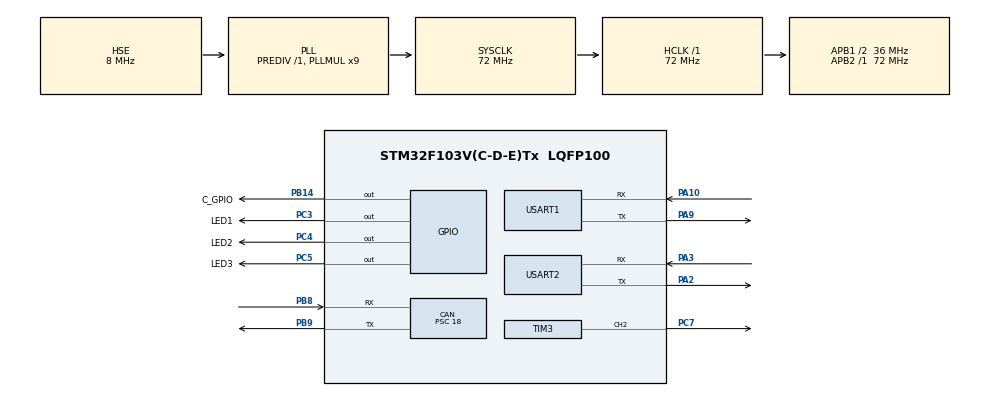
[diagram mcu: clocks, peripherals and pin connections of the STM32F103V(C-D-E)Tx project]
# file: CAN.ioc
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CAN.BS1=CAN_BS1_7TQ
CAN.BS2=CAN_BS2_8TQ
CAN.CalculateTimeBit=8000
CAN.CalculateTimeQuantum=500.0
CAN.Prescaler=18
FREERTOS.Tasks01=Task0,0,256,Func_Task0,Default,NULL,Dynamic,NULL,NULL;Task1,0,256,Func_Task1,Default,NULL,Dynamic,NULL,NULL
Mcu.Family=STM32F1
Mcu.Name=STM32F103V(C-D-E)Tx
Mcu.Package=LQFP100
NVIC.PriorityGroup=NVIC_PRIORITYGROUP_4
NVIC.TIM4_IRQn=true\:0\:0\:false\:false\:true\:false\:false
NVIC.TimeBase=TIM4_IRQn
NVIC.TimeBaseIP=TIM4
NVIC.USART2_IRQn=true\:6\:0\:true\:false\:true\:true\:true
NVIC.USB_LP_CAN1_RX0_IRQn=true\:5\:0\:true\:false\:true\:true\:true
OSC_IN.Mode=HSE-External-Oscillator
OSC_IN.Signal=RCC_OSC_IN
OSC_OUT.Mode=HSE-External-Oscillator
OSC_OUT.Signal=RCC_OSC_OUT
PA10.Mode=Asynchronous
PA10.Signal=USART1_RX
PA13.Mode=Serial_Wire
PA13.Signal=SYS_JTMS-SWDIO
PA14.Mode=Serial_Wire
PA14.Signal=SYS_JTCK-SWCLK
PA2.Mode=Asynchronous
PA2.Signal=USART2_TX
PA3.Mode=Asynchronous
PA3.Signal=USART2_RX
PA9.Mode=Asynchronous
PA9.Signal=USART1_TX
PB14.GPIO_Label=C_GPIO
PB14.Signal=GPIO_Output
PB8.Mode=Master
PB8.Signal=CAN_RX
PB9.Mode=Master
PB9.Signal=CAN_TX
PC3.GPIO_Label=LED1
PC3.Signal=GPIO_Output
PC4.GPIO_Label=LED2
PC4.Signal=GPIO_Output
PC5.GPIO_Label=LED3
PC5.Signal=GPIO_Output
PC7.Signal=S_TIM3_CH2
ProjectManager.HeapSize=0x200
ProjectManager.StackSize=0x400
ProjectManager.TargetToolchain=Makefile
RCC.AHBFreq_Value=72000000
RCC.APB1CLKDivider=RCC_HCLK_DIV2
RCC.APB1Freq_Value=36000000
RCC.APB1TimFreq_Value=72000000
RCC.APB2Freq_Value=72000000
RCC.APB2TimFreq_Value=72000000
RCC.HCLKFreq_Value=72000000
RCC.PLLMUL=RCC_PLL_MUL9
RCC.PLLSourceVirtual=RCC_PLLSOURCE_HSE
RCC.SYSCLKFreq_VALUE=72000000
RCC.SYSCLKSource=RCC_SYSCLKSOURCE_PLLCLK
RCC.USBFreq_Value=72000000
SH.S_TIM3_CH2.0=TIM3_CH2,PWM Generation2 CH2
TIM3.Channel-PWM\ Generation2\ CH2=TIM_CHANNEL_2
TIM3.OCPolarity_2=TIM_OCPOLARITY_LOW
TIM3.Period=1000-1
TIM3.Prescaler=72-1
USART1.VirtualMode=VM_ASYNC
USART2.VirtualMode=VM_ASYNC
VP_FREERTOS_VS_ENABLE.Mode=Enabled
VP_SYS_VS_tim4.Mode=TIM4
board=custom

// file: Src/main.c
/**
  ******************************************************************************
  * @file           : main.c
  * @brief          : Main program body
  ******************************************************************************
  * This notice applies to any and all portions of this file
  * that are not between comment pairs USER CODE BEGIN and
  * USER CODE END. Other portions of this file, whether
  * inserted by the user or by software development tools
  * are owned by their respective copyright owners.
  *
  * Copyright (c) 2020 STMicroelectronics International N.V.
  * All rights reserved.
  *
  * Redistribution and use in source and binary forms, with or without
  * modification, are permitted, provided that the following conditions are met:
  *
  * 1. Redistribution of source code must retain the above copyright notice,
  *    this list of conditions and the following disclaimer.
  * 2. Redistributions in binary form must reproduce the above copyright notice,
  *    this list of conditions and the following disclaimer in the documentation
  *    and/or other materials provided with the distribution.
  * 3. Neither the name of STMicroelectronics nor the names of other
  *    contributors to this software may be used to endorse or promote products
  *    derived from this software without specific written permission.
  * 4. This software, including modifications and/or derivative works of this
  *    software, must execute solely and exclusively on microcontroller or
  *    microprocessor devices manufactured by or for STMicroelectronics.
  * 5. Redistribution and use of this software other than as permitted under
  *    this license is void and will automatically terminate your rights under
  *    this license.
  *
  * THIS SOFTWARE IS PROVIDED BY STMICROELECTRONICS AND CONTRIBUTORS "AS IS"
  * AND ANY EXPRESS, IMPLIED OR STATUTORY WARRANTIES, INCLUDING, BUT NOT
  * LIMITED TO, THE IMPLIED WARRANTIES OF MERCHANTABILITY, FITNESS FOR A
  * PARTICULAR PURPOSE AND NON-INFRINGEMENT OF THIRD PARTY INTELLECTUAL PROPERTY
  * RIGHTS ARE DISCLAIMED TO THE FULLEST EXTENT PERMITTED BY LAW. IN NO EVENT
  * SHALL STMICROELECTRONICS OR CONTRIBUTORS BE LIABLE FOR ANY DIRECT, INDIRECT,
  * INCIDENTAL, SPECIAL, EXEMPLARY, OR CONSEQUENTIAL DAMAGES (INCLUDING, BUT NOT
  * LIMITED TO, PROCUREMENT OF SUBSTITUTE GOODS OR SERVICES; LOSS OF USE, DATA,
  * OR PROFITS; OR BUSINESS INTERRUPTION) HOWEVER CAUSED AND ON ANY THEORY OF
  * LIABILITY, WHETHER IN CONTRACT, STRICT LIABILITY, OR TORT (INCLUDING
  * NEGLIGENCE OR OTHERWISE) ARISING IN ANY WAY OUT OF THE USE OF THIS SOFTWARE,
  * EVEN IF ADVISED OF THE POSSIBILITY OF SUCH DAMAGE.
  *
  ******************************************************************************
  */
#include "main.h"
#include "stm32f1xx_hal.h"
#include "cmsis_os.h"
#include <stdio.h>
#include "arm_etm.h"

CAN_HandleTypeDef hcan;

TIM_HandleTypeDef htim3;

UART_HandleTypeDef huart1;
UART_HandleTypeDef huart2;

osThreadId Task0Handle;
osThreadId Task1Handle;

/* USER CODE BEGIN PV */
/* Private variables ---------------------------------------------------------*/
CAN_FilterConfTypeDef  sFliterConfig;
CanTxMsgTypeDef TxMessage;
CanRxMsgTypeDef RxMessage;
int TickCounter = 0;

int sensor_flag1 = 0;
int sensor_flag2 = 0;
int sensor_flag3 = 0;

int flag;

int globalCounter = 0;

int setupCounter = 0;
/* USER CODE END PV */

void SystemClock_Config(void);
static void MX_GPIO_Init(void);
static void MX_CAN_Init(void);
static void MX_USART1_UART_Init(void);
static void MX_USART2_UART_Init(void);
static void MX_TIM3_Init(void);
void Func_Task0(void const * argument);
void Func_Task1(void const * argument);

void HAL_TIM_MspPostInit(TIM_HandleTypeDef *htim);

void Setup_Icing(int Icing_value);    // 结冰只调PWM
void Setup_Visibility(int visibility_value);    // 能见度调PWM和LED
void Setup_Rainfall(int Rainfall_value);    // 降雨量只调PWM
void Setup_Light(int Light_value);    // 光照强度只调LED
void Setup_Flow_Speed(int Flow_value, int speed_value);    // 车流和车流速度只调PWM

/* USER CODE BEGIN PFP */
/* Private function prototypes -----------------------------------------------*/

/* USER CODE END PFP */

/* USER CODE BEGIN 0 */
void configure_tracing()
{
    /* STM32 specific configuration to enable the TRACESWO IO pin */
    RCC->APB2ENR |= RCC_APB2ENR_AFIOEN;
    AFIO->MAPR |= (2 << 24); // Disable JTAG to release TRACESWO
    DBGMCU->CR |= DBGMCU_CR_TRACE_IOEN; // Enable IO trace pins

    uint32_t DBGMCU_val = DBGMCU->CR;
    // DBGMCU->CR |= 0x00000020;

    if (!(DBGMCU->CR & DBGMCU_CR_TRACE_IOEN))
    {
        // Some (all?) STM32s don't allow writes to DBGMCU register until
        // C_DEBUGEN in CoreDebug->DHCSR is set. This cannot be set by the
        // CPU itself, so in practice you need to connect to the CPU with
        // a debugger once before resetting it.
        return;
    }

    /* Configure Trace Port Interface Unit */
    CoreDebug->DEMCR |= CoreDebug_DEMCR_TRCENA_Msk; // Enable access to registers
    TPI->ACPR = 8; // Trace clock = HCLK/(x+1) = 8MHz    这里HCLK是处理器时钟,这个值的初始值是0，0+1=1就是没有分频,还注释说是8MHz那是因为F105是8MHz
    TPI->SPPR = 2; // Pin protocol = NRZ/USART

    // TPI->FFCR = 0x102;
    TPI->FFCR = 0x100; //为什么设置102开启ETM后，ITM输出就不对了？？,在博客http://essentialscrap.com/tips/arm_trace/theory.html 中说到启用ETM会生成大量数据将使ITM追踪事件的数据丢失
    		       // TPIU packet framing enabled when bit 2 is set.
    		       // You can use 0x102 if you need both DWT/ITM and ETM.
                       // You can use 0x100 if you only need DWT/ITM and not ETM.

    /* Configure PC sampling and exception trace  */
    DWT->CTRL = (1 << DWT_CTRL_CYCTAP_Pos) // Prescaler for PC sampling
                                           // 0 = x32, 1 = x512  //
                    //bits[6]就是DWT_CYCCNT寄存器的0到5bit，那么节拍就是32记录一次PC,bits[10]就是0到9bit，那么节拍记录就是512记录一次PC
              | (0 << DWT_CTRL_POSTPRESET_Pos) // Postscaler for PC sampling
                                                // Divider = value + 1
              | (1 << DWT_CTRL_PCSAMPLENA_Pos) // Enable PC sampling
              | (2 << DWT_CTRL_SYNCTAP_Pos)    // Sync packet interval
                                               // 0 = Off, 1 = Every 2^23 cycles,
                                               // 2 = Every 2^25, 3 = Every 2^27
              | (1 << DWT_CTRL_EXCTRCENA_Pos)  // Enable exception trace
              | (1 << DWT_CTRL_CYCCNTENA_Pos); // Enable cycle counter

    /* Configure instrumentation trace macroblock */
    ITM->LAR = 0xC5ACCE55;
    ITM->TCR = (1 << ITM_TCR_TraceBusID_Pos)  // Trace bus ID for TPIU
             | (1 << ITM_TCR_DWTENA_Pos)      // Enable events from DWT
             | (1 << ITM_TCR_SYNCENA_Pos)     // Enable sync packets
             | (1 << ITM_TCR_ITMENA_Pos)      // Main enable for ITM
             | (1 << ITM_TCR_TSENA_Pos)       // 使能ITM时间戳
             | (0 << ITM_TCR_TSPrescale_Pos); // 先不设置时间戳分频系数,00:不分频，01:4分频，10:16分频，11:64分频
    ITM->TER = 0xFFFFFFFF; // Enable all stimulus ports

    //ETM_Lock_Access = 0xC5ACCE55;
    //ETM_Control = 0x00001D1E;
    //ETM_Trigger_Event = 0x0000406F;
    //ETM_Trace_Enable_Event = 0x0000006F;
    //ETM_Trace_Start_Stop = 0x00000001;

   /* Configure embedded trace macroblock */
    ETM->LAR = 0xC5ACCE55;
    ETM_SetupMode();
    ETM->CR = ETM_CR_ETMEN // Enable ETM output port
            | ETM_CR_STALL_PROCESSOR // Stall processor when fifo is full
            | ETM_CR_BRANCH_OUTPUT // Report all branches
            | (1 << 4);//port_size位21,6,5,4是0001表示8bit，这里目前认为复位值都是0,那么把第4位改为1就行
    ETM->TRACEIDR = 2; // Trace bus ID for TPIU
    ETM->TECR1 = ETM_TECR1_EXCLUDE; // Trace always enabled
    ETM->FFRR = ETM_FFRR_EXCLUDE; // Stalling always enabled
    ETM->FFLR = 24; // Stall when less than N bytes free in FIFO (range 1..24)
                    // Larger values mean less latency in trace, but more stalls.
    // Note: we do not enable ETM trace yet, only for specific parts of code.

    ETM->TRIGGER = 0x0000406F;
    ETM->TEEVR = 0x0000006F;
    //ETM->TSSCR = 0x00000001;

}

void configure_watchpoint()
{
    /* This is an example of how to configure DWT to monitor a watchpoint.
       The data value is reported when the watchpoint is hit. */

    /* Monitor all accesses to GPIOC (range length 32 bytes) */
    //DWT->COMP0 = (uint32_t)bubble_sort;                      //改为了比GPIOC
    DWT->COMP0 = (uint32_t)C_GPIO_GPIO_Port;                      //改为了比较GPIOC
    DWT->MASK0 = 8;							 //屏蔽掉数据地址的后5位，目前DWT->COMP0的值是GPIOA的地址:0x40010800
											//可能是出于加快比较速度的原因吧，那为什么不把MASK[3:0]
										        //设置为8,反正0x40010800最后八位都是0

    DWT->FUNCTION0 = (2 << DWT_FUNCTION_FUNCTION_Pos)   // Report data and addr on watchpoint hit
                   | (1 << DWT_FUNCTION_EMITRANGE_Pos); // 这一位为1，前面那四位是0010表示在读和写操作时通过ITM发出数据和地址偏移量

                 //    (4 << DWT_FUNCTION_FUNCTION_Pos)
                 //  | (1 << DWT_FUNCTION_CYCMATCH_Pos); // 这一位为1,前面那四位是0100,表示比较器0与PC采样计数器比较，匹配时打watchpoint

    /* Monitor all accesses to globalCounter (range length 4 bytes) */
    DWT->COMP1 = (uint32_t)&globalCounter;
    DWT->MASK1 = 2;
    DWT->FUNCTION1 = (3 << DWT_FUNCTION_FUNCTION_Pos); // Report data and PC on watchpoint hit

    DWT->COMP2 = (uint32_t)&setupCounter;
    DWT->MASK2 = 2;
    DWT->FUNCTION2 = (3 << DWT_FUNCTION_FUNCTION_Pos); // Report data and PC on watchpoint hit
}

void ITM_Print(int port, const char *p)
{
    globalCounter = 0xFC;
    if ((ITM->TCR & ITM_TCR_ITMENA_Msk) && (ITM->TER & (1UL << port)))
    {
        while (*p)
        {
            while (ITM->PORT[port].u32 == 0);//时间片下多进程使用一个查询函数在这里始终过不去了，这个问题需要引起注意,原因是两个进程在抢这个发送u端口
            ITM->PORT[port].u8 = *p++;
        }
    }
}

void ITM_SendValue (int port, uint32_t value)
{
    if ((ITM->TCR & ITM_TCR_ITMENA_Msk) && (ITM->TER & (1UL << port)))
    {
        while (ITM->PORT[port].u32 == 0);
        ITM->PORT[port].u32 = value;
    }
}

int _write(int fd, char *ptr, int len)
{
  HAL_UART_Transmit(&huart2, (uint8_t*)ptr, len, 0xFFFF);
  return len;
}
/* USER CODE END 0 */

int main(void)
{

  /* MCU Configuration----------------------------------------------------------*/

  /* Reset of all peripherals, Initializes the Flash interface and the Systick. */
  HAL_Init();

  /* Configure the system clock */
  SystemClock_Config();

  /* Initialize all configured peripherals */
  MX_GPIO_Init();
  MX_CAN_Init();
  MX_USART1_UART_Init();
  MX_USART2_UART_Init();
  MX_TIM3_Init();

  // 追踪初始化
  configure_tracing();
  configure_watchpoint();

  /* Create the thread(s) */
  /* definition and creation of Task0 */
  osThreadDef(Task0, Func_Task0, osPriorityNormal, 0, 256);
  Task0Handle = osThreadCreate(osThread(Task0), NULL);

  /* definition and creation of Task1 */
  osThreadDef(Task1, Func_Task1, osPriorityNormal, 0, 256);
  Task1Handle = osThreadCreate(osThread(Task1), NULL);

  /* Start scheduler */
  osKernelStart();

  /* We should never get here as control is now taken by the scheduler */

  /* Infinite loop */
    while (1)
    {

    }

}

void SystemClock_Config(void)
{

  RCC_OscInitTypeDef RCC_OscInitStruct;
  RCC_ClkInitTypeDef RCC_ClkInitStruct;

    /**Initializes the CPU, AHB and APB busses clocks
    */
  RCC_OscInitStruct.OscillatorType = RCC_OSCILLATORTYPE_HSE;
  RCC_OscInitStruct.HSEState = RCC_HSE_ON;
  RCC_OscInitStruct.HSEPredivValue = RCC_HSE_PREDIV_DIV1;
  RCC_OscInitStruct.HSIState = RCC_HSI_ON;
  RCC_OscInitStruct.PLL.PLLState = RCC_PLL_ON;
  RCC_OscInitStruct.PLL.PLLSource = RCC_PLLSOURCE_HSE;
  RCC_OscInitStruct.PLL.PLLMUL = RCC_PLL_MUL9;
  if (HAL_RCC_OscConfig(&RCC_OscInitStruct) != HAL_OK)
  {
    _Error_Handler(__FILE__, __LINE__);
  }

    /**Initializes the CPU, AHB and APB busses clocks
    */
  RCC_ClkInitStruct.ClockType = RCC_CLOCKTYPE_HCLK|RCC_CLOCKTYPE_SYSCLK
                              |RCC_CLOCKTYPE_PCLK1|RCC_CLOCKTYPE_PCLK2;
  RCC_ClkInitStruct.SYSCLKSource = RCC_SYSCLKSOURCE_PLLCLK;
  RCC_ClkInitStruct.AHBCLKDivider = RCC_SYSCLK_DIV1;
  RCC_ClkInitStruct.APB1CLKDivider = RCC_HCLK_DIV2;
  RCC_ClkInitStruct.APB2CLKDivider = RCC_HCLK_DIV1;

  if (HAL_RCC_ClockConfig(&RCC_ClkInitStruct, FLASH_LATENCY_2) != HAL_OK)
  {
    _Error_Handler(__FILE__, __LINE__);
  }

    /**Configure the Systick interrupt time
    */
  HAL_SYSTICK_Config(HAL_RCC_GetHCLKFreq()/1000);

    /**Configure the Systick
    */
  HAL_SYSTICK_CLKSourceConfig(SYSTICK_CLKSOURCE_HCLK);

  /* SysTick_IRQn interrupt configuration */
  HAL_NVIC_SetPriority(SysTick_IRQn, 15, 0);
}

/* CAN init function */
static void MX_CAN_Init(void)
{

  hcan.Instance = CAN1;
  hcan.Init.Prescaler = 18;
  hcan.Init.Mode = CAN_MODE_NORMAL;
  hcan.Init.SJW = CAN_SJW_1TQ;
  hcan.Init.BS1 = CAN_BS1_7TQ;
  hcan.Init.BS2 = CAN_BS2_8TQ;
  hcan.Init.TTCM = DISABLE;
  hcan.Init.ABOM = DISABLE;
  hcan.Init.AWUM = DISABLE;
  hcan.Init.NART = DISABLE;
  hcan.Init.RFLM = DISABLE;
  hcan.Init.TXFP = DISABLE;
  if (HAL_CAN_Init(&hcan) != HAL_OK)
  {
    _Error_Handler(__FILE__, __LINE__);
  }

}

/* TIM3 init function */
static void MX_TIM3_Init(void)
{

  TIM_MasterConfigTypeDef sMasterConfig;
  TIM_OC_InitTypeDef sConfigOC;

  htim3.Instance = TIM3;
  htim3.Init.Prescaler = 72-1;
  htim3.Init.CounterMode = TIM_COUNTERMODE_UP;
  htim3.Init.Period = 1000-1;
  htim3.Init.ClockDivision = TIM_CLOCKDIVISION_DIV1;
  htim3.Init.AutoReloadPreload = TIM_AUTORELOAD_PRELOAD_DISABLE;
  if (HAL_TIM_PWM_Init(&htim3) != HAL_OK)
  {
    _Error_Handler(__FILE__, __LINE__);
  }

  sMasterConfig.MasterOutputTrigger = TIM_TRGO_RESET;
  sMasterConfig.MasterSlaveMode = TIM_MASTERSLAVEMODE_DISABLE;
  if (HAL_TIMEx_MasterConfigSynchronization(&htim3, &sMasterConfig) != HAL_OK)
  {
    _Error_Handler(__FILE__, __LINE__);
  }

  sConfigOC.OCMode = TIM_OCMODE_PWM1;
  sConfigOC.Pulse = 0;
  sConfigOC.OCPolarity = TIM_OCPOLARITY_LOW;
  sConfigOC.OCFastMode = TIM_OCFAST_DISABLE;
  if (HAL_TIM_PWM_ConfigChannel(&htim3, &sConfigOC, TIM_CHANNEL_2) != HAL_OK)
  {
    _Error_Handler(__FILE__, __LINE__);
  }

  HAL_TIM_MspPostInit(&htim3);

}

/* USART1 init function */
static void MX_USART1_UART_Init(void)
{

  huart1.Instance = USART1;
  huart1.Init.BaudRate = 115200;
  huart1.Init.WordLength = UART_WORDLENGTH_8B;
  huart1.Init.StopBits = UART_STOPBITS_1;
  huart1.Init.Parity = UART_PARITY_NONE;
  huart1.Init.Mode = UART_MODE_TX_RX;
  huart1.Init.HwFlowCtl = UART_HWCONTROL_NONE;
  huart1.Init.OverSampling = UART_OVERSAMPLING_16;
  if (HAL_UART_Init(&huart1) != HAL_OK)
  {
    _Error_Handler(__FILE__, __LINE__);
  }

}

/* USART2 init function */
static void MX_USART2_UART_Init(void)
{

  huart2.Instance = USART2;
  huart2.Init.BaudRate = 115200;
  huart2.Init.WordLength = UART_WORDLENGTH_8B;
  huart2.Init.StopBits = UART_STOPBITS_1;
  huart2.Init.Parity = UART_PARITY_NONE;
  huart2.Init.Mode = UART_MODE_TX_RX;
  huart2.Init.HwFlowCtl = UART_HWCONTROL_NONE;
  huart2.Init.OverSampling = UART_OVERSAMPLING_16;
  if (HAL_UART_Init(&huart2) != HAL_OK)
  {
    _Error_Handler(__FILE__, __LINE__);
  }

}

/** Configure pins as
        * Analog
        * Input
        * Output
        * EVENT_OUT
        * EXTI
*/
static void MX_GPIO_Init(void)
{

  GPIO_InitTypeDef GPIO_InitStruct;

  /* GPIO Ports Clock Enable */
  __HAL_RCC_GPIOC_CLK_ENABLE();
  __HAL_RCC_GPIOA_CLK_ENABLE();
  __HAL_RCC_GPIOB_CLK_ENABLE();

  /*Configure GPIO pin Output Level */
  HAL_GPIO_WritePin(GPIOC, LED1_Pin|LED2_Pin|LED3_Pin, GPIO_PIN_RESET);

  /*Configure GPIO pin Output Level */
  HAL_GPIO_WritePin(C_GPIO_GPIO_Port, C_GPIO_Pin, GPIO_PIN_RESET);

  /*Configure GPIO pins : LED1_Pin LED2_Pin LED3_Pin */
  GPIO_InitStruct.Pin = LED1_Pin|LED2_Pin|LED3_Pin;
  GPIO_InitStruct.Mode = GPIO_MODE_OUTPUT_PP;
  GPIO_InitStruct.Pull = GPIO_NOPULL;
  GPIO_InitStruct.Speed = GPIO_SPEED_FREQ_LOW;
  HAL_GPIO_Init(GPIOC, &GPIO_InitStruct);

  /*Configure GPIO pin : C_GPIO_Pin */
  GPIO_InitStruct.Pin = C_GPIO_Pin;
  GPIO_InitStruct.Mode = GPIO_MODE_OUTPUT_PP;
  GPIO_InitStruct.Pull = GPIO_NOPULL;
  GPIO_InitStruct.Speed = GPIO_SPEED_FREQ_LOW;
  HAL_GPIO_Init(C_GPIO_GPIO_Port, &GPIO_InitStruct);

}

/* USER CODE BEGIN 4 */

void Setup_Icing(int Icing_value)
{
  setupCounter = 0xAA;
  uint16_t dutyCycle = 0;
  // HAL_TIM_PWM_Start(&htim3, TIM_CHANNEL_2);
  if (Icing_value > 5)
  {
    dutyCycle = 0;
    while (dutyCycle < 1000)    // 逐渐降低动力输出，使低电平比例到950/1000
    {
      dutyCycle += 50;
      __HAL_TIM_SET_COMPARE(&htim3, TIM_CHANNEL_2, dutyCycle);
      osDelay(5);
    }

    while (dutyCycle > 200)    // 逐渐升高动力输出，使低电平比例到150/1000
    {
      dutyCycle -= 50;
      __HAL_TIM_SET_COMPARE(&htim3, TIM_CHANNEL_2, dutyCycle);
      osDelay(5);
    }
  }

  if (Icing_value <= 5 && Icing_value > 2)
  {
    dutyCycle = 0;
    while (dutyCycle < 700)    // 逐渐降低动力输出，使低电平比例到650/1000
    {
      dutyCycle += 50;
      __HAL_TIM_SET_COMPARE(&htim3, TIM_CHANNEL_2, dutyCycle);
      osDelay(5);
    }

    while (dutyCycle > 200)    // 逐渐升高动力输出，使低电平比例到150/1000
    {
      dutyCycle -= 50;
      __HAL_TIM_SET_COMPARE(&htim3, TIM_CHANNEL_2, dutyCycle);
      osDelay(5);
    }
  }
}

void Setup_Visibility(int visibility_value)
{
  setupCounter = 0xAB;
  HAL_GPIO_WritePin(LED1_GPIO_Port, LED1_Pin, GPIO_PIN_RESET);
  HAL_GPIO_WritePin(LED2_GPIO_Port, LED2_Pin, GPIO_PIN_SET);

  uint16_t dutyCycle = 0;
  // HAL_TIM_PWM_Start(&htim3, TIM_CHANNEL_2);
  if (visibility_value < 5)    // 能见度小于5公里
  {
    dutyCycle = 0;
    while (dutyCycle < 600)    // 逐渐降低动力输出，使低电平比例到550/1000
    {
      dutyCycle += 50;
      __HAL_TIM_SET_COMPARE(&htim3, TIM_CHANNEL_2, dutyCycle);
      osDelay(5);
    }

    while (dutyCycle > 400)    // 逐渐升高动力输出，使低电平比例到350/1000
    {
      dutyCycle -= 50;
      __HAL_TIM_SET_COMPARE(&htim3, TIM_CHANNEL_2, dutyCycle);
      osDelay(5);
    }
  }

  if (visibility_value < 7)    // 能见度小于7公里
  {
    dutyCycle = 0;
    while (dutyCycle < 700)    // 逐渐降低动力输出，使低电平比例到650/1000
    {
      dutyCycle += 50;
      __HAL_TIM_SET_COMPARE(&htim3, TIM_CHANNEL_2, dutyCycle);
      osDelay(5);
    }
  }
}

void Setup_Rainfall(int Rainfall_value)
{
  setupCounter = 0xAC;
  uint16_t dutyCycle = 0;
  // HAL_TIM_PWM_Start(&htim3, TIM_CHANNEL_2);
  if (Rainfall_value > 200)     // 降雨量大于200
  {
    dutyCycle = 0;
    while (dutyCycle < 900)    // 逐渐降低动力输出，使低电平比例到850/1000
    {
      dutyCycle += 50;
      __HAL_TIM_SET_COMPARE(&htim3, TIM_CHANNEL_2, dutyCycle);
      osDelay(5);
    }

    while (dutyCycle > 200)    // 逐渐升高动力输出，使低电平比例到150/1000
    {
      dutyCycle -= 50;
      __HAL_TIM_SET_COMPARE(&htim3, TIM_CHANNEL_2, dutyCycle);
      osDelay(5);
    }
  }

  if (Rainfall_value <= 200 && Rainfall_value > 100)    // 降雨量在100-200间
  {
    dutyCycle = 0;
    while (dutyCycle < 700)    // 逐渐降低动力输出，使低电平比例到650/1000
    {
      dutyCycle += 50;
      __HAL_TIM_SET_COMPARE(&htim3, TIM_CHANNEL_2, dutyCycle);
      osDelay(5);
    }

    while (dutyCycle > 200)    // 逐渐升高动力输出，使低电平比例到150/1000
    {
      dutyCycle -= 50;
      __HAL_TIM_SET_COMPARE(&htim3, TIM_CHANNEL_2, dutyCycle);
      osDelay(5);
    }
  }
}

void Setup_Light(int Light_value)
{
  setupCounter = 0xAD;
  if (Light_value < 200)
  {
    HAL_GPIO_WritePin(LED1_GPIO_Port, LED1_Pin, GPIO_PIN_SET);
    HAL_GPIO_WritePin(LED2_GPIO_Port, LED2_Pin, GPIO_PIN_SET);
    HAL_GPIO_WritePin(LED3_GPIO_Port, LED3_Pin, GPIO_PIN_SET);
  }
  if (Light_value < 300 && Light_value >= 200)
  {
    HAL_GPIO_WritePin(LED1_GPIO_Port, LED1_Pin, GPIO_PIN_SET);
    HAL_GPIO_WritePin(LED2_GPIO_Port, LED2_Pin, GPIO_PIN_SET);
    HAL_GPIO_WritePin(LED3_GPIO_Port, LED3_Pin, GPIO_PIN_RESET);
  }
  if (Light_value < 400 && Light_value >= 300)
  {
    HAL_GPIO_WritePin(LED1_GPIO_Port, LED1_Pin, GPIO_PIN_SET);
    HAL_GPIO_WritePin(LED2_GPIO_Port, LED2_Pin, GPIO_PIN_RESET);
    HAL_GPIO_WritePin(LED3_GPIO_Port, LED3_Pin, GPIO_PIN_RESET);
  }
  if (Light_value >= 400)
  {
    HAL_GPIO_WritePin(LED1_GPIO_Port, LED1_Pin, GPIO_PIN_RESET);
    HAL_GPIO_WritePin(LED2_GPIO_Port, LED2_Pin, GPIO_PIN_RESET);
    HAL_GPIO_WritePin(LED3_GPIO_Port, LED3_Pin, GPIO_PIN_RESET);
  }
}

void Setup_Flow_Speed(int Flow_value, int speed_value)
{
  setupCounter = 0xAE;
  uint16_t dutyCycle = 0;
  // HAL_TIM_PWM_Start(&htim3, TIM_CHANNEL_2);
  if (Flow_value > 30 && speed_value < 30)     // 车流量大于30，车流速度小于30
  {
    dutyCycle = 0;
    while (dutyCycle < 600)    // 逐渐降低动力输出，使低电平比例到550/1000
    {
      dutyCycle += 50;
      __HAL_TIM_SET_COMPARE(&htim3, TIM_CHANNEL_2, dutyCycle);
      osDelay(5);
    }
  }

  if (Flow_value > 45 && speed_value < 20)    // 车流量大于45，车流速度小于20
  {
    dutyCycle = 0;
    while (dutyCycle < 800)    // 逐渐降低动力输出，使低电平比例到750/1000
    {
      dutyCycle += 50;
      __HAL_TIM_SET_COMPARE(&htim3, TIM_CHANNEL_2, dutyCycle);
      osDelay(5);
    }
  }
}
/* USER CODE END 4 */

/* Func_Task0 function */
void Func_Task0(void const * argument)
{

  /* USER CODE BEGIN 5 */
    // hcan.pTxMsg = &TxMessage;    // hc.pTxMsg 按 TxMessage格式
    hcan.pRxMsg = &RxMessage;

    HAL_UART_Transmit(&huart2,"\r\nFunc_Task0\r\n",14,10);

    sFliterConfig.FilterNumber         = 0;
    sFliterConfig.FilterMode           = CAN_FILTERMODE_IDMASK;
    sFliterConfig.FilterScale          = CAN_FILTERSCALE_32BIT;            // 查看了下.h文件，最大滤波器位宽就是32位，8个字符
    sFliterConfig.FilterIdHigh         = 0x0000;
    sFliterConfig.FilterIdLow          = 0x0000;
    sFliterConfig.FilterMaskIdHigh     = 0x0000;
    sFliterConfig.FilterMaskIdLow      = 0x0000;
    sFliterConfig.FilterFIFOAssignment = CAN_FILTER_FIFO0;
    sFliterConfig.FilterActivation     = ENABLE;
    // sFliterConfig.BankNumber           = 14;

    HAL_CAN_ConfigFilter(&hcan, &sFliterConfig);

    HAL_CAN_Receive_IT(&hcan, CAN_FIFO0);

    HAL_TIM_PWM_Start(&htim3, TIM_CHANNEL_2);
    __HAL_TIM_SET_COMPARE(&htim3, TIM_CHANNEL_2, 999);

    // hcan.pTxMsg -> ExtId = 0x1314;
    // hcan.pTxMsg -> RTR = CAN_RTR_DATA;
    // hcan.pTxMsg -> IDE = CAN_ID_EXT;
    // hcan.pTxMsg -> DLC = 2;
    // hcan.pTxMsg -> Data[0] = 0xAB;
    // hcan.pTxMsg -> Data[1] = 0xCD;

    // HAL_CAN_Transmit(&hcan, 10);  // 注意第二个参数是timeout，与常规库函数不同
    /* Infinite loop */
    for(;;)
    {
        // osDelay(1000);
        // HAL_GPIO_WritePin(LED1_GPIO_Port, LED1_Pin, GPIO_PIN_RESET);
        // HAL_CAN_Transmit(&hcan, 10);

        osDelay(1);
        if (flag == 0)
        {
          __HAL_TIM_SET_COMPARE(&htim3, TIM_CHANNEL_2, 999);    // 在没有传感器数据到来时保证动力充足
        }
        // HAL_GPIO_WritePin(LED1_GPIO_Port, LED1_Pin, GPIO_PIN_SET);
        // HAL_CAN_Transmit(&hcan, 10);
    }
  /* USER CODE END 5 */
}

/* Func_Task1 function */
void Func_Task1(void const * argument)
{
  /* USER CODE BEGIN Func_Task1 */
    /* Infinite loop */
    flag = 0;

    char str1[8];
    char str2[8];

    char user_str[24];
    char uart_str[8];

    int temperature, humidity, Light, visibility, Rainfall, Flow, speed,Icing;

    HAL_UART_Transmit(&huart2,"CAN_RX", 6, 10);

    for(;;)
    {
      // osDelay(1);
      if (flag == 1)
	  {
		globalCounter = 0x0C;    // 报告0x0C意味CAN口接收到了1个P的数据

                HAL_GPIO_WritePin(C_GPIO_GPIO_Port, C_GPIO_Pin, GPIO_PIN_SET);
                osDelay(1);
                HAL_GPIO_WritePin(C_GPIO_GPIO_Port, C_GPIO_Pin, GPIO_PIN_RESET);

		flag = 0;
		HAL_UART_Transmit(&huart2, "\r\nOK\r\n", 6, 10);

		if ((RxMessage.Data[0] == 9 && RxMessage.Data[1] == 8) || (RxMessage.Data[0] == 1 && RxMessage.Data[1] == 2))
		{
		  sprintf(str1, "%d", RxMessage.Data[0]);
		  sprintf(str2, "%d", RxMessage.Data[1]);
		  // if (RxMessage.Data[0] = 0xAB)
		  //     HAL_UART_Transmit(&huart1, "AB", 2, 10);
		  HAL_UART_Transmit(&huart2, str1, 8, 10);
		  HAL_UART_Transmit(&huart2, str2, 8, 10);
		}
		else
		{
		  HAL_UART_Transmit(&huart2,"\r\nRX SensorOK\r\n", 15, 10);
		  for (int p = 0;p < 8;p++)
		  {
		    sprintf(str1, "%c", RxMessage.Data[p]);
		    HAL_UART_Transmit(&huart2, str1, 8, 10);
		  }

		  if (RxMessage.Data[2] == 'T')        // 18T30H05P
		  {
		    HAL_UART_Transmit(&huart2,"\r\n1P\r\n", 6, 10);
		    for (int k = 0;k < 8;k++)
		    {
		      user_str[k] = RxMessage.Data[k];
		    }
		    sensor_flag1 = 8;
		  }

		  if (RxMessage.Data[2] == 'L' && sensor_flag1 == 8)        // 00L15V00P
		  {
		    HAL_UART_Transmit(&huart2,"\r\n2P\r\n", 6, 10);
		    for (int k = 0;k < 8;k++)
		    {
		      user_str[k + 8] = RxMessage.Data[k];
		    }
		    sensor_flag2 = 16;
		  }

		  if (RxMessage.Data[1] == 'R' && sensor_flag2 == 16)        // 0R30F45SP
		  {
		    HAL_UART_Transmit(&huart2,"\r\n3P\r\n", 6, 10);
		    for (int k = 0;k < 8;k++)
		    {
		      user_str[k + 8 + 8] = RxMessage.Data[k];
		    }
		    sensor_flag3 = 24;

            temperature = (user_str[0] - 0x30) * 10 + (user_str[1] - 0x30);
            printf("\r\ntemperature:%d",temperature);

	    	if (user_str[5] == 'H')
            {
              humidity = (user_str[3] - 0x30) * 10 + (user_str[4] - 0x30);
              printf("\r\nhumidity:",humidity);
            }
            if (user_str[5] == 'I')
            {
              Icing = (user_str[3] - 0x30) * 10 + (user_str[4] - 0x30);
              Setup_Icing(Icing);
              printf("\r\nIcing:%d",Icing);
            }

	    	Light = (user_str[6] - 0x30) * 1000 + (user_str[7] - 0x30) * 100 + (user_str[8] - 0x30) * 10 + + (user_str[9] - 0x30);
		    Setup_Light(Light);
            printf("\r\nLight:%d",Light);

	    	visibility = (user_str[11] - 0x30) * 10 + (user_str[12] - 0x30);
            // if (visibility < 10)
            // {
              // HAL_UART_Transmit(&huart2,"\r\nFAT",5,10);    // 在计算没有错误的情况下，HAL_UART_Transmit出现显示错误,修改_write重定向printf则无措，不用管，反正那么多串口发送都得关闭
            //   printf("\r\nFAT");
            // }
		    Setup_Visibility(visibility);
            printf("\r\nvisibility:%d",visibility);

		    Rainfall = (user_str[14] - 0x30) * 100 + (user_str[15] - 0x30) * 10 + + (user_str[16] - 0x30);
		    Setup_Rainfall(Rainfall);    // 降雨量只调PWM
            printf("\r\nRainfall:%d",Rainfall);

	    	Flow = (user_str[18] - 0x30) * 10 + (user_str[19] - 0x30);
            printf("\r\nFlow:%d",Flow);

	    	speed = (user_str[21] - 0x30) * 10 + (user_str[22] - 0x30);
            printf("\r\nspeed:%d",speed);
		    Setup_Flow_Speed(Flow, speed);
		  }

		}
	  }

        HAL_CAN_Receive_IT(&hcan, CAN_FIFO0);    // 在USB_LP_CAN1_RX0_IRQHandler里用HAL_CAN_IRQHandler挂起hcan后，一定记得这里再注册一下，不然下次就进不去中断了

    }
  /* USER CODE END Func_Task1 */
}

void HAL_TIM_PeriodElapsedCallback(TIM_HandleTypeDef *htim)
{
  if (htim->Instance == TIM4) {
    HAL_IncTick();

    ++TickCounter;
    if (TickCounter == 50)    // C_GPIO是PB14
      // HAL_GPIO_WritePin(C_GPIO_GPIO_Port, C_GPIO_Pin, GPIO_PIN_RESET);  // set 0

    if (TickCounter == 100)
    {
      // HAL_GPIO_WritePin(C_GPIO_GPIO_Port, C_GPIO_Pin, GPIO_PIN_SET);    // set 1
      TickCounter = 0;
    }
  }

}

void _Error_Handler(char *file, int line)
{
    while(1)
    {
    }
}

/************************ (C) COPYRIGHT STMicroelectronics *****END OF FILE****/
